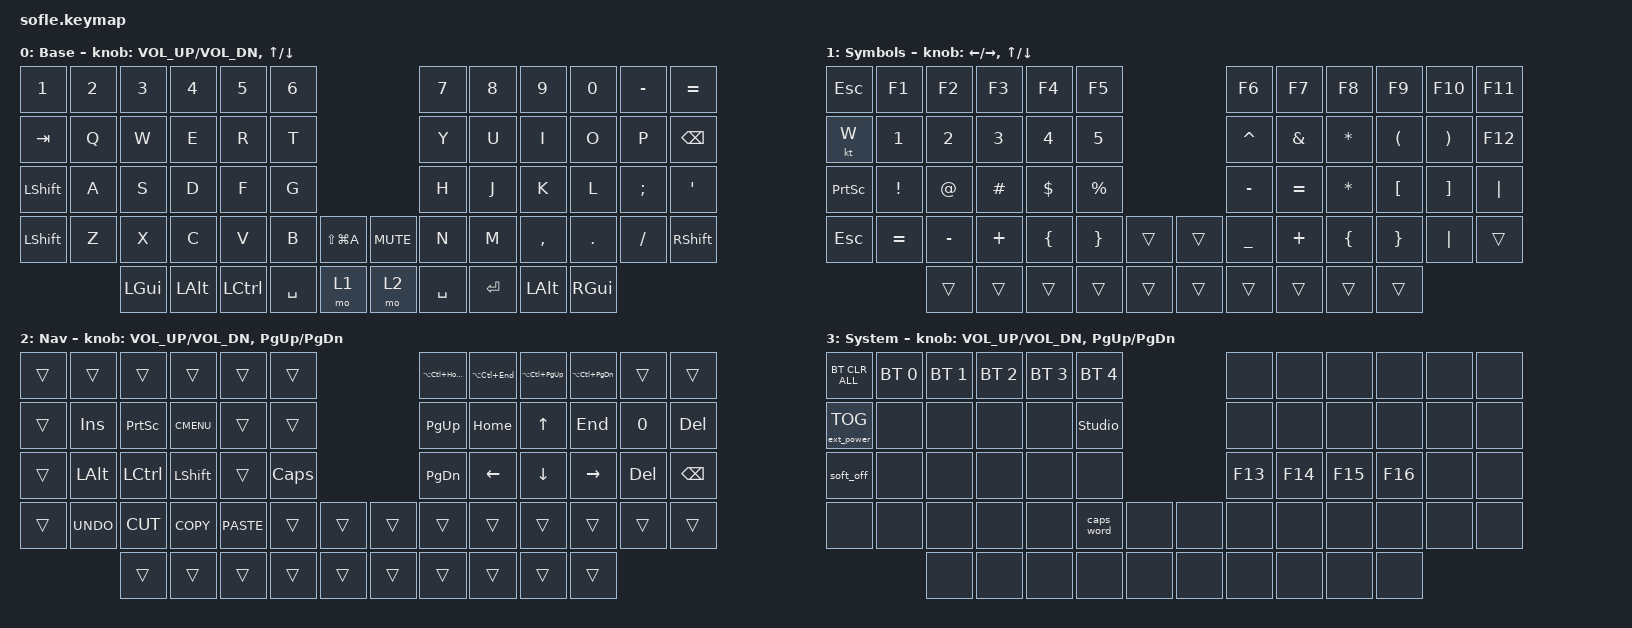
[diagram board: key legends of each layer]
/*
 * Copyright (c) 2020 The ZMK Contributors
 *
 * SPDX-License-Identifier: MIT
 */

#include <behaviors.dtsi>
#include <dt-bindings/zmk/bt.h>
#include <dt-bindings/zmk/ext_power.h>
#include <dt-bindings/zmk/keys.h>

// Encoders

&sensors { triggers-per-rotation = <30>; };

&left_encoder { steps = <60>; };

&right_encoder { steps = <60>; };

#define BASE 0
#define LOWER 1
#define RAISE 2
#define ADJUST 3

/ {
    // Activate ADJUST layer by pressing raise and lower

    conditional_layers {
        compatible = "zmk,conditional-layers";

        adjust_layer {
            if-layers = <LOWER RAISE>;
            then-layer = <ADJUST>;
        };
    };

    combos {
        compatible = "zmk,combos";

        backspace {
            bindings = <&kp BACKSPACE>;
            key-positions = <28 31>;
        };

        delete {
            bindings = <&kp DELETE>;
            key-positions = <27 32>;
        };

        esc {
            bindings = <&kp ESCAPE>;
            key-positions = <25 41>;
        };

        Enter_combo {
            bindings = <&kp ENTER>;
            key-positions = <41 40>;
        };
    };

    behaviors {
        caps: caps {
            compatible = "zmk,behavior-caps-word";
            label = "CAPS";
            #binding-cells = <0>;
            continue-list = <POUND MINUS BACKSPACE UNDERSCORE>;
        };
    };

    keymap {
        compatible = "zmk,keymap";

        default_layer {
            display-name = "Base";

            // ------------------------------------------------------------------------------------------------------------
            // |   `   |  1  |  2  |  3   |  4   |  5   |                   |  6   |  7    |  8    |  9   |   0   |       |
            // |  ESC  |  Q  |  W  |  E   |  R   |  T   |                   |  Y   |  U    |  I    |  O   |   P   | BKSPC |
            // |  TAB  |  A  |  S  |  D   |  F   |  G   |                   |  H   |  J    |  K    |  L   |   ;   |   '   |
            // | SHIFT |  Z  |  X  |  C   |  V   |  B   |  MUTE  |  |       |  N   |  M    |  ,    |  .   |   /   | SHIFT |
            //               | GUI | ALT  | CTRL | LOWER|  ENTER |  | SPACE | RAISE| CTRL  | ALT   | GUI  |

            bindings = <
&kp N1          &kp N2  &kp N3    &kp N4    &kp N5     &kp N6                                  &kp N7     &kp N8      &kp N9     &kp N0    &kp MINUS  &kp EQUAL
&kp TAB         &kp Q   &kp W     &kp E     &kp R      &kp T                                   &kp Y      &kp U       &kp I      &kp O     &kp P      &kp BSPC
&kp LEFT_SHIFT  &kp A   &kp S     &kp D     &kp F      &kp G                                   &kp H      &kp J       &kp K      &kp L     &kp SEMI   &kp SQT
&kp LEFT_SHIFT  &kp Z   &kp X     &kp C     &kp V      &kp B      &kp LS(LG(A))    &kp K_MUTE  &kp N      &kp M       &kp COMMA  &kp DOT   &kp FSLH   &kp RSHFT
                        &kp LGUI  &kp LALT  &kp LCTRL  &kp SPACE  &mo 1            &mo 2       &kp SPACE  &kp RETURN  &kp LALT   &kp RGUI
            >;

            sensor-bindings = <&inc_dec_kp C_VOL_UP C_VOL_DN &inc_dec_kp UP DOWN>;
        };

        lower_layer {
            display-name = "Symbols";

            // TODO: Some binds are waiting for shifted keycode support.
            // ------------------------------------------------------------------------------------------------------------
            // |       |  F1 |  F2 |  F3  |  F4  |  F5  |                   |  F6  |  F7   |  F8   |  F9  |  F10  |  F11  |
            // |   `   |  1  |  2  |  3   |  4   |  5   |                   |  6   |  7    |  8    |  9   |   0   |  F12  |
            // |       |  !  |  @  |  #   |  $   |  %   |                   |  ^   |  &    |  *    |  (   |   )   |   |   |
            // |       |  =  |  -  |  +   |  {   |  }   |        |  |       |  [   |  ]    |  ;    |  :   |   \   |       |
            //               |     |      |      |      |        |  |       |      |       |       |      |

            bindings = <
&kp ESC          &kp F1     &kp F2     &kp F3    &kp F4    &kp F5                       &kp F6          &kp F7         &kp F8          &kp F9                &kp F10                &kp F11
&kt W            &kp N1     &kp N2     &kp N3    &kp N4    &kp N5                       &kp CARET       &kp AMPERSAND  &kp ASTRK       &kp LEFT_PARENTHESIS  &kp RIGHT_PARENTHESIS  &kp F12
&kp PRINTSCREEN  &kp EXCL   &kp AT     &kp HASH  &kp DLLR  &kp PRCNT                    &kp MINUS       &kp EQUAL      &kp ASTRK       &kp LEFT_BRACKET      &kp RIGHT_BRACKET      &kp PIPE
&kp ESC          &kp EQUAL  &kp MINUS  &kp PLUS  &kp LBRC  &kp RBRC   &trans    &trans  &kp UNDERSCORE  &kp PLUS       &kp LEFT_BRACE  &kp RIGHT_BRACE       &kp PIPE               &trans
                            &trans     &trans    &trans    &trans     &trans    &trans  &trans          &trans         &trans          &trans
            >;

            sensor-bindings =
                <&inc_dec_kp LEFT_ARROW RIGHT_ARROW>,
                <&inc_dec_kp UP_ARROW DOWN_ARROW>;
        };

        raise_layer {
            display-name = "Nav";

            // ------------------------------------------------------------------------------------------------------------
            // | BTCLR | BT1  | BT2  |  BT3  |  BT4  |  BT5 |                |      |      |       |      |       |       |
            // |       | INS  | PSCR | GUI   |       |      |                | PGUP |      |   ^   |      |       |       |
            // |       | ALT  | CTRL | SHIFT |       | CAPS |                | PGDN |   <- |   v   |  ->  |  DEL  | BKSPC |
            // |       | UNDO | CUT  | COPY  | PASTE |      |      |  |      |      |      |       |      |       |       |
            //                |      |       |       |      |      |  |      |      |      |       |      |

            bindings = <
&trans  &trans      &trans     &trans       &trans       &trans                      &kp LA(LC(HOME))  &kp LA(LC(END))  &kp LA(LC(PAGE_UP))  &kp LA(LC(PAGE_DOWN))  &trans   &trans
&trans  &kp INS     &kp PSCRN  &kp K_CMENU  &trans       &trans                      &kp PG_UP         &kp HOME         &kp UP               &kp END                &kp N0   &kp DEL
&trans  &kp LALT    &kp LCTRL  &kp LSHFT    &trans       &kp CLCK                    &kp PG_DN         &kp LEFT         &kp DOWN             &kp RIGHT              &kp DEL  &kp BSPC
&trans  &kp K_UNDO  &kp K_CUT  &kp K_COPY   &kp K_PASTE  &trans    &trans    &trans  &trans            &trans           &trans               &trans                 &trans   &trans
                    &trans     &trans       &trans       &trans    &trans    &trans  &trans            &trans           &trans               &trans
            >;

            sensor-bindings = <&inc_dec_kp C_VOL_UP C_VOL_DN &inc_dec_kp PG_UP PG_DN>;
        };

        adjust_layer {
            // ----------------------------------------------------------------------------------------------------------------------------
            // | BTCLR  |  BT1    |  BT2    |   BT3   |   BT4   |   BT5   |                  |      |      |       |      |       |       |
            // | EXTPWR | RGB_HUD | RGB_HUI | RGB_SAD | RGB_SAI | RGB_EFF |                  |      |      |       |      |       |       |
            // |        | RGB_BRD | RGB_BRI |         |         |         |                  |      |      |       |      |       |       |
            // |        |         |         |         |         |         | RGB_TOG | |      |      |      |       |      |       |       |
            //                    |         |         |         |         |         | |      |      |      |       |      |

            display-name = "System";
            bindings = <
&bt BT_CLR_ALL     &bt BT_SEL 0  &bt BT_SEL 1  &bt BT_SEL 2  &bt BT_SEL 3  &bt BT_SEL 4                    &none    &none    &none    &none    &none  &none
&ext_power EP_TOG  &none         &none         &none         &none         &studio_unlock                  &none    &none    &none    &none    &none  &none
&soft_off          &none         &none         &none         &none         &none                           &kp F13  &kp F14  &kp F15  &kp F16  &none  &none
&none              &none         &none         &none         &none         &caps_word      &none    &none  &none    &none    &none    &none    &none  &none
                                 &none         &none         &none         &none           &none    &none  &none    &none    &none    &none
            >;

            sensor-bindings = <&inc_dec_kp C_VOL_UP C_VOL_DN &inc_dec_kp PG_UP PG_DN>;
        };
    };
};
